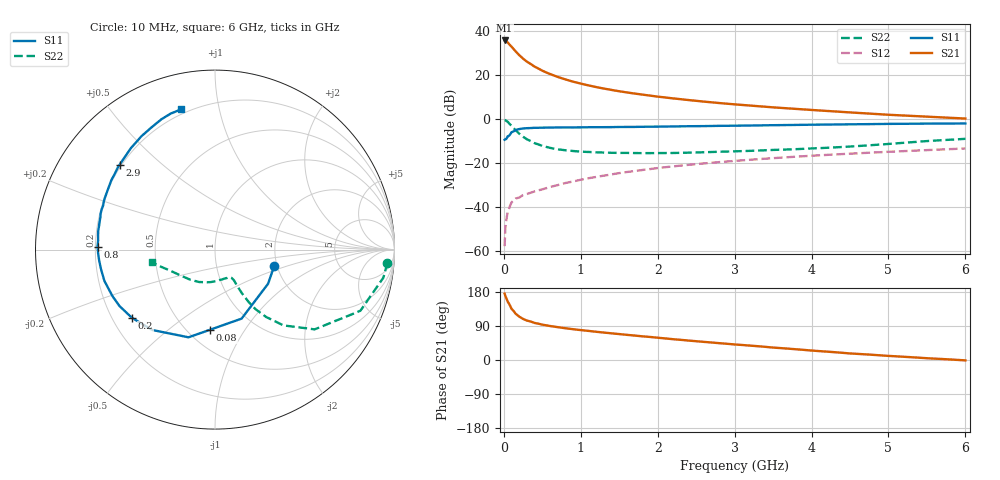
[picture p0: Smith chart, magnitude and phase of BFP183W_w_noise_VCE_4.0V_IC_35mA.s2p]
! Infineon Technologies  Discrete & RF Semiconductors
! BFP183W
! VCE =  4.0 V,  IC =  35 mA
! Common Emitter S-Parameters:  Jan 2017
# GHz  S  MA  R  50
!  f  S11  S21  S12  S22
! GHz  MAG  ANG  MAG  ANG  MAG  ANG  MAG  ANG
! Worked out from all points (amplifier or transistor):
!   77 points, 10 MHz to 6 GHz, reference 50 ohm
!   highest |S21| = 35.9 dB at 10 MHz (marker M1)
!   |S21| within 3 dB of that: start of sweep to 104.6 MHz
!   unconditionally stable (mu >= 1): 837.1 MHz to 3.396 GHz
!   at 130 MHz: K = 0.34, MSG = 34.3 dB, |S12| = -36.8 dB
!   at 2.2 GHz: K = 1.06, MAG = 13.9 dB, |S12| = -21.4 dB
!   at 6 GHz: K = 0.86, MSG = 6.8 dB, |S12| = -13.3 dB
!   lowest NFmin = 1.51 dB at 450 MHz
!   S11 on the Smith chart (normalised r, x): 10 MHz: 1.93, -0.39; 80 MHz: 0.64, -0.71; 200 MHz: 0.28, -0.33; 800 MHz: 0.21, +0.01; 2.9 GHz: 0.19, +0.37; 6 GHz: 0.18, +0.77
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0.01  0.3425 -15.2  62.06 175.1  0.0013 83.9  0.9633 -4.4
0.02  0.3516 -32.7  60.87 169.0  0.0035 89.1  0.9508 -9.5
0.05  0.4121 -68.9  55.99 154.1  0.0076 70.8  0.8789 -22.8
0.08  0.448 -93.7  48.64 143.7  0.0107 63.4  0.7707 -31.5
0.1  0.5105 -106.8  44.86 135.0  0.0128 60.5  0.7109 -38.7
0.15  0.5683 -128.0  35.58 122.8  0.0157 53.3  0.5693 -47.9
0.2  0.5988 -140.6  28.78 114.4  0.0166 50.6  0.4713 -52.8
0.25  0.618 -149.4  24 108.4  0.0189 49.2  0.4009 -55.8
0.3  0.6273 -155.6  20.43 104.1  0.02 48.8  0.3505 -57.2
0.4  0.6404 -164.2  15.75 97.8  0.0229 51.0  0.2864 -58.3
0.5  0.6441 -170.0  12.72 93.3  0.0255 54.3  0.2487 -58.5
0.6  0.6482 -174.5  10.7 89.7  0.0288 57.0  0.2239 -58.5
0.7  0.6516 -178.2  9.192 86.7  0.0318 59.3  0.2074 -58.3
0.8  0.6545 178.5  8.074 83.8  0.0355 60.1  0.1975 -58.4
1.1  0.659 170.9  5.9 76.8  0.0456 62.7  0.1805 -60.1
1.5  0.6682 162.5  4.34 68.4  0.0597 63.8  0.1717 -65.3
2.1  0.6833 151.2  3.13 56.9  0.0813 62.6  0.1708 -78.4
2.9  0.7114 138.3  2.262 42.8  0.1095 58.9  0.1845 -100.3
3.1  0.7174 135.4  2.118 39.6  0.1165 57.6  0.1888 -105.7
4.1  0.7554 121.8  1.589 23.5  0.1515 51.4  0.2206 -132.3
5.1  0.7874 111.4  1.242 9.7  0.1854 44.9  0.283 -156.5
6  0.8034 103.6  1.039 -1.0  0.2167 38.7  0.3592 -168.8
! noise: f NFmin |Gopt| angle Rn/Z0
0.45  1.51  0.29  -177  0.1
0.9  1.56  0.32  -176  0.1
1.9  2.05  0.47  -154  0.11
2.4  2.31  0.51  -151  0.16
